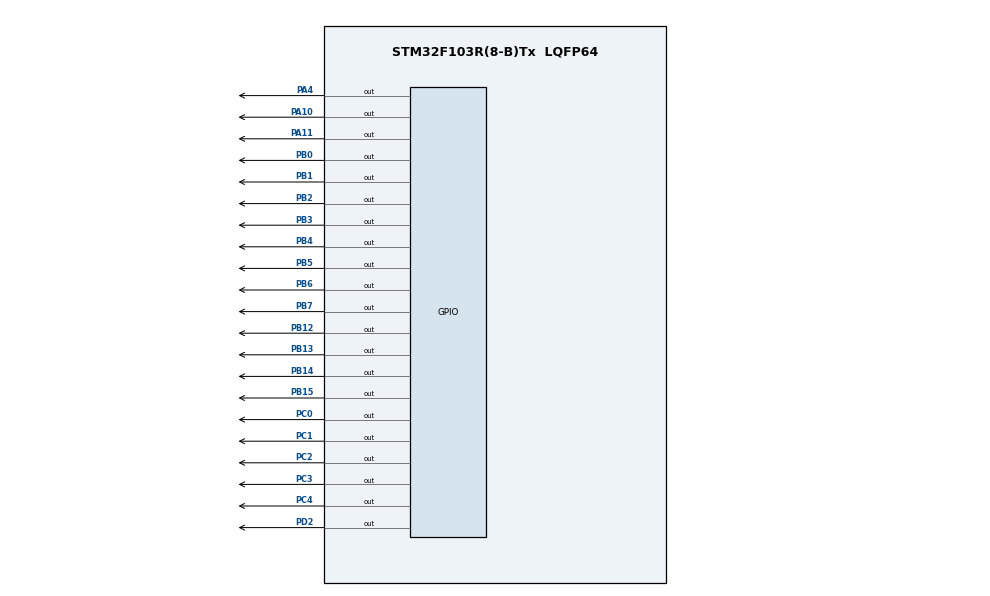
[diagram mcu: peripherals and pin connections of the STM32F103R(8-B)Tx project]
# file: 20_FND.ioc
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Mcu.Family=STM32F1
Mcu.Name=STM32F103R(8-B)Tx
Mcu.Package=LQFP64
NVIC.PriorityGroup=NVIC_PRIORITYGROUP_4
PA10.Signal=GPIO_Output
PA11.Signal=GPIO_Output
PA13.Mode=Serial_Wire
PA13.Signal=SYS_JTMS-SWDIO
PA14.Mode=Serial_Wire
PA14.Signal=SYS_JTCK-SWCLK
PA4.Signal=GPIO_Output
PB0.Signal=GPIO_Output
PB1.Signal=GPIO_Output
PB12.Signal=GPIO_Output
PB13.Signal=GPIO_Output
PB14.Signal=GPIO_Output
PB15.Signal=GPIO_Output
PB2.Signal=GPIO_Output
PB3.Signal=GPIO_Output
PB4.Signal=GPIO_Output
PB5.Signal=GPIO_Output
PB6.Signal=GPIO_Output
PB7.Signal=GPIO_Output
PC0.Signal=GPIO_Output
PC1.Signal=GPIO_Output
PC2.Signal=GPIO_Output
PC3.Signal=GPIO_Output
PC4.Signal=GPIO_Output
PD2.Signal=GPIO_Output
ProjectManager.HeapSize=0x200
ProjectManager.StackSize=0x400
ProjectManager.TargetToolchain=STM32CubeIDE
RCC.APB1Freq_Value=8000000
RCC.APB2Freq_Value=8000000
board=custom

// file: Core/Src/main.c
/* USER CODE BEGIN Header */
/**
  ******************************************************************************
  * @file           : main.c
  * @brief          : Main program body
  ******************************************************************************
  * @attention
  *
  * Copyright (c) 2023 STMicroelectronics.
  * All rights reserved.
  *
  * This software is licensed under terms that can be found in the LICENSE file
  * in the root directory of this software component.
  * If no LICENSE file comes with this software, it is provided AS-IS.
  *
  ******************************************************************************
  */
/* USER CODE END Header */
#include "main.h"

/* USER CODE BEGIN PV */
uint8_t number[] = {0x3f, 0x06, 0x5b, 0x4f, 0x66, 0x6d, 0x7d, 0x07, 0x7f, 0x67};
uint8_t help[] = {0x76, 0x79, 0x38, 0x73};

/* USER CODE END PV */

void SystemClock_Config(void);
static void MX_GPIO_Init(void);

/* USER CODE BEGIN 0 */
typedef struct fnd{
	GPIO_TypeDef *port;
	uint16_t pin;
} FND;

FND value[8] ={
		{GPIOB, GPIO_PIN_0}, {GPIOB, GPIO_PIN_1},
		{GPIOB, GPIO_PIN_2}, {GPIOB, GPIO_PIN_3},
		{GPIOB, GPIO_PIN_4}, {GPIOB, GPIO_PIN_5},
		{GPIOB, GPIO_PIN_6}, {GPIOB, GPIO_PIN_7}
};

FND sel[4] ={
		{GPIOA, GPIO_PIN_10}, {GPIOA, GPIO_PIN_11},
		{GPIOC, GPIO_PIN_4}, {GPIOC, GPIO_PIN_3}
};

void display_fnd(uint8_t data, uint8_t position, uint32_t time) {
   int i;
   for(i = 0; i < 4; i++) {
      if(i == position) {
         HAL_GPIO_WritePin(sel[i].port, sel[i].pin, GPIO_PIN_SET);
      } else {
         HAL_GPIO_WritePin(sel[i].port, sel[i].pin, GPIO_PIN_RESET);
      }
   }
   for(i = 0; i < 8; i++) {
      if((data & (1 << i)) != 0){
         HAL_GPIO_WritePin(value[i].port, value[i].pin, GPIO_PIN_SET);
      } else {
         HAL_GPIO_WritePin(value[i].port, value[i].pin, GPIO_PIN_RESET);
      }
   }
   HAL_Delay(time);
}

/* USER CODE END 0 */

int main(void)
{

  /* MCU Configuration--------------------------------------------------------*/

  /* Reset of all peripherals, Initializes the Flash interface and the Systick. */
  HAL_Init();

  /* Configure the system clock */
  SystemClock_Config();

  /* Initialize all configured peripherals */
  MX_GPIO_Init();

  /* Infinite loop */
  /* USER CODE BEGIN WHILE */
  while (1)
  {
	  for(int i = 4; i > 0; i--){
		  for(int j = 0; j < 50; j++){
			  display_fnd(help[0], (3+i)%4, 5);
			  display_fnd(help[1], (2+i)%4, 5);
			  display_fnd(help[2], (1+i)%4, 5);
			  display_fnd(help[3], (0+i)%4, 5);
		  }
	  }
	/*  display_fnd(help[0], 3, 5);
	  display_fnd(help[1], 2, 5);
	  display_fnd(help[2], 1, 5);
	  display_fnd(help[3], 0, 5);*/

/*	  display_fnd(number[1], 3, 5);
	  display_fnd(number[2], 2, 5);
	  display_fnd(number[3], 1, 5);
	  display_fnd(number[4], 0, 5);*/

/*
	  HAL_GPIO_WritePin(GPIOB, GPIO_PIN_0, GPIO_PIN_SET); // A
	  HAL_GPIO_WritePin(GPIOB, GPIO_PIN_1, GPIO_PIN_SET); // B
	  HAL_GPIO_WritePin(GPIOB, GPIO_PIN_2, GPIO_PIN_SET); // C
	  HAL_GPIO_WritePin(GPIOB, GPIO_PIN_3, GPIO_PIN_SET); // D
	  HAL_GPIO_WritePin(GPIOB, GPIO_PIN_4, GPIO_PIN_SET); // E
	  HAL_GPIO_WritePin(GPIOB, GPIO_PIN_5, GPIO_PIN_SET); // F
	  HAL_GPIO_WritePin(GPIOB, GPIO_PIN_6, GPIO_PIN_SET); // G
	  HAL_GPIO_WritePin(GPIOB, GPIO_PIN_7, GPIO_PIN_SET); // DP
	  HAL_GPIO_WritePin(GPIOA, GPIO_PIN_10, GPIO_PIN_SET); // COM 0
*/
    /* USER CODE END WHILE */

  }
}

void SystemClock_Config(void)
{
  RCC_OscInitTypeDef RCC_OscInitStruct = {0};
  RCC_ClkInitTypeDef RCC_ClkInitStruct = {0};

  /** Initializes the RCC Oscillators according to the specified parameters
  * in the RCC_OscInitTypeDef structure.
  */
  RCC_OscInitStruct.OscillatorType = RCC_OSCILLATORTYPE_HSI;
  RCC_OscInitStruct.HSIState = RCC_HSI_ON;
  RCC_OscInitStruct.HSICalibrationValue = RCC_HSICALIBRATION_DEFAULT;
  RCC_OscInitStruct.PLL.PLLState = RCC_PLL_NONE;
  if (HAL_RCC_OscConfig(&RCC_OscInitStruct) != HAL_OK)
  {
    Error_Handler();
  }

  /** Initializes the CPU, AHB and APB buses clocks
  */
  RCC_ClkInitStruct.ClockType = RCC_CLOCKTYPE_HCLK|RCC_CLOCKTYPE_SYSCLK
                              |RCC_CLOCKTYPE_PCLK1|RCC_CLOCKTYPE_PCLK2;
  RCC_ClkInitStruct.SYSCLKSource = RCC_SYSCLKSOURCE_HSI;
  RCC_ClkInitStruct.AHBCLKDivider = RCC_SYSCLK_DIV1;
  RCC_ClkInitStruct.APB1CLKDivider = RCC_HCLK_DIV1;
  RCC_ClkInitStruct.APB2CLKDivider = RCC_HCLK_DIV1;

  if (HAL_RCC_ClockConfig(&RCC_ClkInitStruct, FLASH_LATENCY_0) != HAL_OK)
  {
    Error_Handler();
  }
}

static void MX_GPIO_Init(void)
{
  GPIO_InitTypeDef GPIO_InitStruct = {0};

  /* GPIO Ports Clock Enable */
  __HAL_RCC_GPIOC_CLK_ENABLE();
  __HAL_RCC_GPIOA_CLK_ENABLE();
  __HAL_RCC_GPIOB_CLK_ENABLE();
  __HAL_RCC_GPIOD_CLK_ENABLE();

  /*Configure GPIO pin Output Level */
  HAL_GPIO_WritePin(GPIOC, GPIO_PIN_0|GPIO_PIN_1|GPIO_PIN_2|GPIO_PIN_3
                          |GPIO_PIN_4, GPIO_PIN_RESET);

  /*Configure GPIO pin Output Level */
  HAL_GPIO_WritePin(GPIOA, GPIO_PIN_4|GPIO_PIN_10|GPIO_PIN_11, GPIO_PIN_RESET);

  /*Configure GPIO pin Output Level */
  HAL_GPIO_WritePin(GPIOB, GPIO_PIN_0|GPIO_PIN_1|GPIO_PIN_2|GPIO_PIN_12
                          |GPIO_PIN_13|GPIO_PIN_14|GPIO_PIN_15|GPIO_PIN_3
                          |GPIO_PIN_4|GPIO_PIN_5|GPIO_PIN_6|GPIO_PIN_7, GPIO_PIN_RESET);

  /*Configure GPIO pin Output Level */
  HAL_GPIO_WritePin(GPIOD, GPIO_PIN_2, GPIO_PIN_RESET);

  /*Configure GPIO pins : PC0 PC1 PC2 PC3
                           PC4 */
  GPIO_InitStruct.Pin = GPIO_PIN_0|GPIO_PIN_1|GPIO_PIN_2|GPIO_PIN_3
                          |GPIO_PIN_4;
  GPIO_InitStruct.Mode = GPIO_MODE_OUTPUT_PP;
  GPIO_InitStruct.Pull = GPIO_NOPULL;
  GPIO_InitStruct.Speed = GPIO_SPEED_FREQ_LOW;
  HAL_GPIO_Init(GPIOC, &GPIO_InitStruct);

  /*Configure GPIO pins : PA4 PA10 PA11 */
  GPIO_InitStruct.Pin = GPIO_PIN_4|GPIO_PIN_10|GPIO_PIN_11;
  GPIO_InitStruct.Mode = GPIO_MODE_OUTPUT_PP;
  GPIO_InitStruct.Pull = GPIO_NOPULL;
  GPIO_InitStruct.Speed = GPIO_SPEED_FREQ_LOW;
  HAL_GPIO_Init(GPIOA, &GPIO_InitStruct);

  /*Configure GPIO pins : PB0 PB1 PB2 PB12
                           PB13 PB14 PB15 PB3
                           PB4 PB5 PB6 PB7 */
  GPIO_InitStruct.Pin = GPIO_PIN_0|GPIO_PIN_1|GPIO_PIN_2|GPIO_PIN_12
                          |GPIO_PIN_13|GPIO_PIN_14|GPIO_PIN_15|GPIO_PIN_3
                          |GPIO_PIN_4|GPIO_PIN_5|GPIO_PIN_6|GPIO_PIN_7;
  GPIO_InitStruct.Mode = GPIO_MODE_OUTPUT_PP;
  GPIO_InitStruct.Pull = GPIO_NOPULL;
  GPIO_InitStruct.Speed = GPIO_SPEED_FREQ_LOW;
  HAL_GPIO_Init(GPIOB, &GPIO_InitStruct);

  /*Configure GPIO pin : PD2 */
  GPIO_InitStruct.Pin = GPIO_PIN_2;
  GPIO_InitStruct.Mode = GPIO_MODE_OUTPUT_PP;
  GPIO_InitStruct.Pull = GPIO_NOPULL;
  GPIO_InitStruct.Speed = GPIO_SPEED_FREQ_LOW;
  HAL_GPIO_Init(GPIOD, &GPIO_InitStruct);

}

void Error_Handler(void)
{
  __disable_irq();
  while (1)
  {
  }
}
